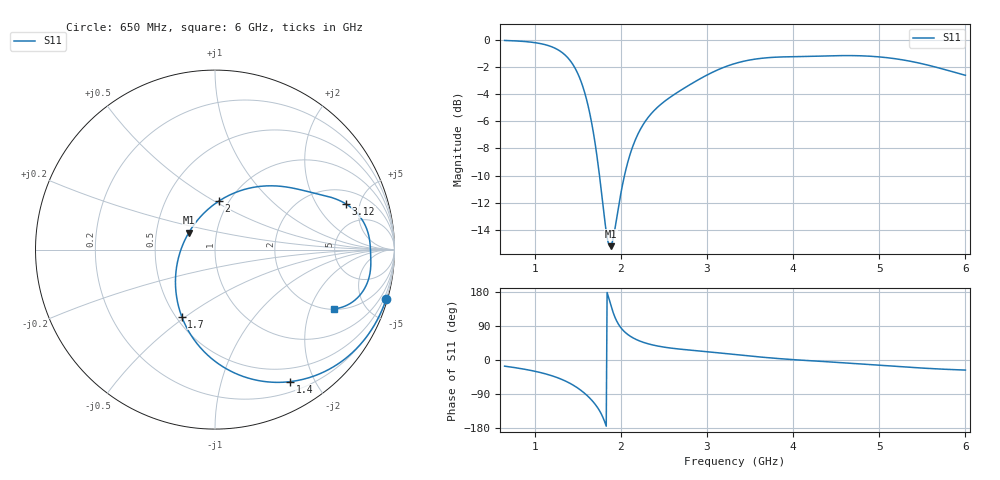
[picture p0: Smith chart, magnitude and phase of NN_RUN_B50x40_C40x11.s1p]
! IGNION VIRTUAL ANTENNA LIBRARY
! NN_RUN_B50x40_C40x11
! Virtual Antenna™ RUN mXTEND™: NN02-224 12.0 mm x 3.0 mm x 2.4 mm
! https://ignion.io/product/run-mxtend/
! Board: 50 mm x 40 mm
! Clearance Area: 40 mm x 11 mm
! Feeding line: L-shape; 11mm x 2mm and 5mm x 2mm
! Applications: Fleet management, IoT
! Frequency range 0.65GHz to 6GHz, step 10MHz
! Number of ports 1
! This product and its use is protected by at least one or more of the following patents and patent
! applications US 8,203,492 B2; US 8,237,615 B2; PCT/EP2013/064692; WO 2014/012842 A1; US 2019/190122 A1;
! US 62/072,671; and other domestic and international patents pending. Additional information about
! patents related to this product is available at https://ignion.io/files/Patent-list-NN.pdf, all
! rights reserved. Copyright, Ignion 2021.
! Need more help? Your platform is much different than these examples in the manual? Use our
! Fast Track service (https://ignion.io/fast-track/), for free, and get a personalized antenna design in
! just 24 hours.
! Touchstone port 1 = "Series Port"
! IE3D S-Parameters Output Version 2.0
# GHZ S MA R 50
! Nport = 1
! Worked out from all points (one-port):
!   536 points, 650 MHz to 6 GHz, reference 50 ohm
!   lowest |S11| = -15.2 dB at 1.88 GHz (marker M1), VSWR 1.42, Z = 36.7 + j7.15 ohm
!   |S11| at or under -10 dB: 1.752 GHz to 2.042 GHz (290.1 MHz wide, 15.3 % of centre)
!   S11 on the Smith chart (normalised r, x): 650 MHz: 0.18, -7.00; 1.4 GHz: 0.32, -1.67; 1.7 GHz: 0.54, -0.48; 2 GHz: 0.90, +0.53; 3.12 GHz: 2.93, +3.70; 6 GHz: 2.02, -2.95
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0.65  0.993 -16.3
0.87  0.9849 -23.9
1.05  0.9691 -32.2
1.19  0.943 -40.9
1.32  0.8953 -51.8
1.4  0.8458 -60.5
1.48  0.7726 -71.1
1.55  0.6838 -82.5
1.62  0.5699 -96.3
1.7  0.4169 -116.4
1.76  0.3008 -136.9
1.83  0.1966 -174.7
1.86  0.1763 162.8
1.88  0.1739 147.1
1.92  0.1925 119.2
1.99  0.2613 88.2
2  0.2721 85.2
2.1  0.3724 64.1
2.23  0.47 49.1
2.41  0.5581 37.7
2.66  0.6407 29.3
3.12  0.773 19.2
3.33  0.8178 14.3
3.63  0.8536 7.6
4  0.8655 1.0
4.67  0.8735 -8.7
5.34  0.835 -19.1
6  0.7393 -26.6
